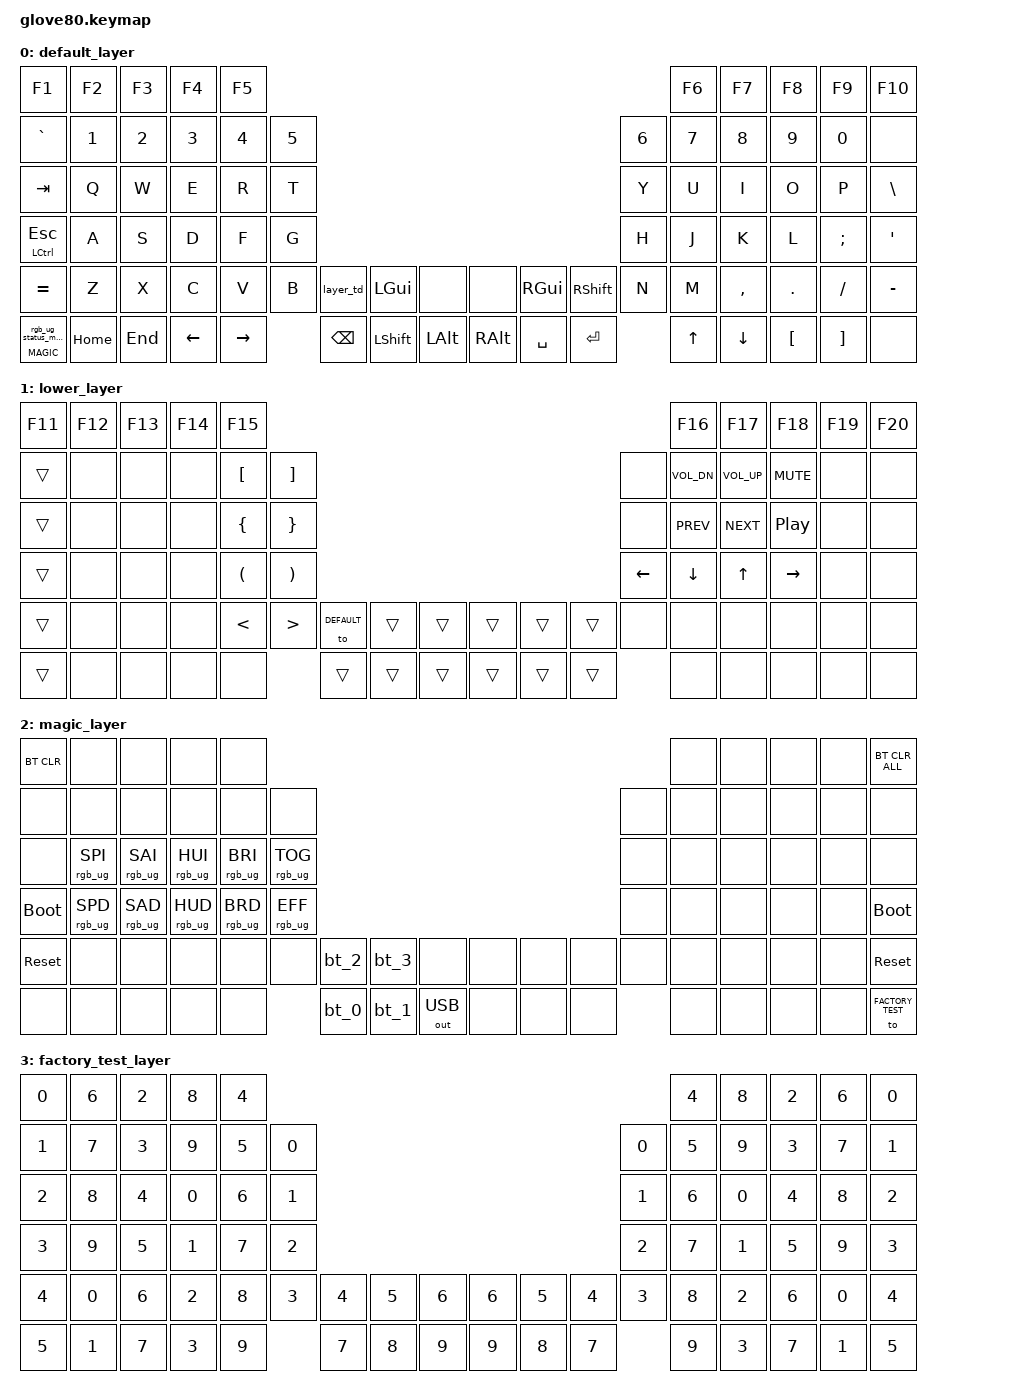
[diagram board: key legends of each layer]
/*
 * Copyright (c) 2020 The ZMK Contributors
 *
 * SPDX-License-Identifier: MIT
 */

#include <behaviors.dtsi>
#include <dt-bindings/zmk/keys.h>
#include <dt-bindings/zmk/bt.h>
#include <dt-bindings/zmk/ext_power.h>
#include <dt-bindings/zmk/outputs.h>
#include <dt-bindings/zmk/rgb.h>

#define HYPER LC(LS(LG(LALT)))

// layers
#define DEFAULT 0
#define LOWER 1
#define MAGIC 2
#define FACTORY_TEST 3

/ {
    behaviors {
        hot: hold_or_tap {
            compatible = "zmk,behavior-hold-tap";
            label = "TAP_A_KEY_OR_HOLD_ANOTHER";
            #binding-cells = <2>;
            flavor = "hold-preferred";
            tapping-term-ms = <200>;
            bindings = <&kp>, <&kp>;
            display-name = "Mod-Hold-Or-Tap";
        };

        // For the "layer" key, it'd nice to be able to use it as either a shift or a toggle.
        // Configure it as a tap dance, so the first tap (or hold) is a &mo and the second tap is a &to
        layer_td: tap_dance_0 {
            compatible = "zmk,behavior-tap-dance";
            label = "LAYER_TAP_DANCE";
            #binding-cells = <0>;
            tapping-term-ms = <200>;
            bindings = <&mo LOWER>, <&to LOWER>;
        };

        magic: magic_hold_tap {
            compatible = "zmk,behavior-hold-tap";
            label = "MAGIC_HOLD_TAP";
            #binding-cells = <2>;
            flavor = "tap-preferred";
            tapping-term-ms = <200>;
            bindings = <&mo>, <&rgb_ug_status_macro>;
        };
    };

    macros {
        rgb_ug_status_macro: rgb_ug_status_macro_0 {
            label = "RGB_UG_STATUS";
            compatible = "zmk,behavior-macro";
            #binding-cells = <0>;
            bindings
                = <&rgb_ug RGB_STATUS>;
        };

        bt_0: bt_profile_macro_0 {
            label = "BT_0";
            compatible = "zmk,behavior-macro";
            #binding-cells = <0>;
            bindings
                = <&out OUT_BLE>,
                  <&bt BT_SEL 0>;
        };

        bt_1: bt_profile_macro_1 {
            label = "BT_1";
            compatible = "zmk,behavior-macro";
            #binding-cells = <0>;
            bindings
                = <&out OUT_BLE>,
                  <&bt BT_SEL 1>;
        };

        bt_2: bt_profile_macro_2 {
            label = "BT_2";
            compatible = "zmk,behavior-macro";
            #binding-cells = <0>;
            bindings
                = <&out OUT_BLE>,
                  <&bt BT_SEL 2>;
        };

        bt_3: bt_profile_macro_3 {
            label = "BT_3";
            compatible = "zmk,behavior-macro";
            #binding-cells = <0>;
            bindings
                = <&out OUT_BLE>,
                  <&bt BT_SEL 3>;
        };
    };

    keymap {
        compatible = "zmk,keymap";

        default_layer {
            // ---------------------------------------------------------------------------------------------------------------------------------
            // |  F1   |  F2 |  F3 |  F4  |  F5  |                                                               |  F6   |  F7   |  F8  |   F9  |  F10 |
            // |  =    |  1  |  2  |  3   |  4   |  5   |                                                 |  6   |   7   |   8   |  9   |   0   |   -  |
            // |  TAB  |  Q  |  W  |  E   |  R   |  T   |                                                 |  Y   |   U   |   I   |  O   |   P   |   \  |
            // |  ESC  |  A  |  S  |  D   |  F   |  G   |                                                 |  H   |   J   |   K   |  L   |   ;   |   '  |
            // |   `   |  Z  |  X  |  C   |  V   |  B   | LSHFT | LCTRL | LOWER | | LGUI  | RCTRL | RSHFT |  N   |   M   |   ,   |  .   |   /   | PGUP |
            // | MAGIC | HOME| END | LEFT | RIGHT|      | BSPC  | DEL   | LALT  | | RALT  | RET   | SPACE |      |  UP   | DOWN  |  [   |   ]   | PGDN |

            bindings = <
            &kp F1         &kp F2   &kp F3      &kp F4      &kp F5                                                                                         &kp F6  &kp F7      &kp F8      &kp F9      &kp F10
            &kp GRAVE      &kp N1   &kp N2      &kp N3      &kp N4      &kp N5                                                                     &kp N6  &kp N7  &kp N8      &kp N9      &kp N0      &none
            &kp TAB        &kp Q    &kp W       &kp E       &kp R       &kp T                                                                      &kp Y   &kp U   &kp I       &kp O       &kp P       &kp BSLH
            &hot LCTRL ESC &kp A    &kp S       &kp D       &kp F       &kp G                                                                      &kp H   &kp J   &kp K       &kp L       &kp SEMI    &kp SQT
            &kp EQUAL      &kp Z    &kp X       &kp C       &kp V       &kp B   &layer_td   &kp LGUI    &none      &none     &kp RGUI  &kp RSHFT   &kp N   &kp M   &kp COMMA   &kp DOT     &kp FSLH    &kp MINUS
            &magic MAGIC 0 &kp HOME &kp END     &kp LEFT    &kp RIGHT           &kp BSPC    &kp LSHFT   &kp LALT   &kp RALT  &kp SPACE &kp RET             &kp UP  &kp DOWN    &kp LBKT    &kp RBKT    &none
            >;
        };

        lower_layer {
            bindings = <
            &kp F11           &kp F12             &kp F13         &kp F14         &kp F15                                                                                                            &kp F16      &kp F17      &kp F18       &kp F19         &kp F20
            &trans            &none               &none           &none           &kp LBKT        &kp RBKT                                                                              &none        &kp C_VOL_DN &kp C_VOL_UP &kp C_MUTE    &none           &none
            &trans            &none               &none           &none           &kp LBRC        &kp RBRC                                                                              &none        &kp C_PREV   &kp C_NEXT   &kp C_PP      &none           &none
            &trans            &none               &none           &none           &kp LPAR        &kp RPAR                                                                              &kp LEFT     &kp DOWN     &kp UP       &kp RIGHT     &none           &none
            &trans            &none               &none           &none           &kp LT          &kp GT          &to DEFAULT &trans      &trans      &trans      &trans      &trans    &none        &none        &none        &none         &none           &none
            &trans            &none               &none           &none           &none                           &trans      &trans      &trans      &trans      &trans      &trans                 &none        &none        &none         &none           &none
            >;
        };

        magic_layer {
            bindings = <
            &bt BT_CLR        &none               &none           &none           &none                                                                                                           &none      &none      &none      &none      &bt BT_CLR_ALL
            &none             &none               &none           &none           &none           &none                                                                                &none      &none      &none      &none      &none      &none
            &none             &rgb_ug RGB_SPI     &rgb_ug RGB_SAI &rgb_ug RGB_HUI &rgb_ug RGB_BRI &rgb_ug RGB_TOG                                                                      &none      &none      &none      &none      &none      &none
            &bootloader       &rgb_ug RGB_SPD     &rgb_ug RGB_SAD &rgb_ug RGB_HUD &rgb_ug RGB_BRD &rgb_ug RGB_EFF                                                                      &none      &none      &none      &none      &none      &bootloader
            &sys_reset        &none               &none           &none           &none           &none           &bt_2     &bt_3     &none            &none     &none     &none       &none      &none      &none      &none      &none      &sys_reset
            &none             &none               &none           &none           &none                           &bt_0     &bt_1     &out OUT_USB     &none     &none     &none                  &none      &none      &none      &none      &to FACTORY_TEST
            >;
        };

        factory_test_layer {
            bindings = <
            &kp N0   &kp N6   &kp N2   &kp N8   &kp N4                                                                              &kp N4   &kp N8   &kp N2   &kp N6   &kp N0
            &kp N1   &kp N7   &kp N3   &kp N9   &kp N5   &kp N0                                                            &kp N0   &kp N5   &kp N9   &kp N3   &kp N7   &kp N1
            &kp N2   &kp N8   &kp N4   &kp N0   &kp N6   &kp N1                                                            &kp N1   &kp N6   &kp N0   &kp N4   &kp N8   &kp N2
            &kp N3   &kp N9   &kp N5   &kp N1   &kp N7   &kp N2                                                            &kp N2   &kp N7   &kp N1   &kp N5   &kp N9   &kp N3
            &kp N4   &kp N0   &kp N6   &kp N2   &kp N8   &kp N3   &kp N4   &kp N5   &kp N6      &kp N6   &kp N5   &kp N4   &kp N3   &kp N8   &kp N2   &kp N6   &kp N0   &kp N4
            &kp N5   &kp N1   &kp N7   &kp N3   &kp N9            &kp N7   &kp N8   &kp N9      &kp N9   &kp N8   &kp N7            &kp N9   &kp N3   &kp N7   &kp N1   &kp N5
            >;
        };
    };
};
